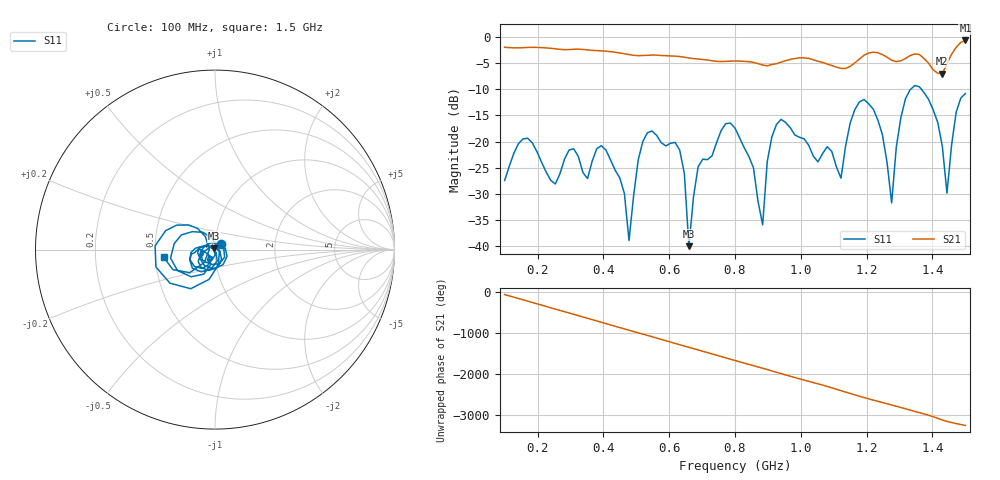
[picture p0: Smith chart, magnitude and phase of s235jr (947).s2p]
! NanoVNA-App
! Date: 2025-09-25 15:11:32
! Start: 100MHz Stop: 1,5GHz Points: 101
! S-Parameter data: F S11 S21 S12 S22
# Hz S RI R 50
!  Frequency  S11_Real  S11_Imag  S21_Real  S21_Imag  S12_Real  S12_Imag  S22_Real  S22_Imag
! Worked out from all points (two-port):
!   101 points, 100 MHz to 1.5 GHz, reference 50 ohm
!   highest |S21| = -0.67 dB at 1.5 GHz (marker M1); lowest = -7.0 dB at 1.43 GHz (marker M2)
!   |S21| within 3 dB of the highest: start of sweep to 618.4 MHz; 1.189 GHz to 1.256 GHz (67.56 MHz wide, 5.53 % of centre) (the widest 2 of 4)
!   lowest |S11| = -40.0 dB at 660 MHz (marker M3), VSWR 1.02, Z = 49.2 + j0.631 ohm
!   |S11| at or under -10 dB: start of sweep to 1.334 GHz; 1.366 GHz to end of sweep
!   S12 and S22 are empty: the file has one direction only
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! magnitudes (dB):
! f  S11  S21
! 100 MHz  -27.5  -2.0
! 170 MHz  -19.4  -2.0
! 338 MHz  -25.9  -2.4
! 408 MHz  -21.6  -2.7
! 478 MHz  -38.9  -3.4
! 520 MHz  -20.0  -3.5
! 576 MHz  -20.2  -3.5
! 632 MHz  -21.6  -3.7
! 660 MHz  -40.0  -4.0
! 688 MHz  -24.8  -4.2
! 800 MHz  -17.4  -4.6
! 884 MHz  -35.9  -5.4
! 926 MHz  -16.7  -5.1
! 1.038 GHz  -22.8  -4.4
! 1.122 GHz  -27.0  -6.0
! 1.192 GHz  -12.0  -3.5
! 1.248 GHz  -18.7  -3.4
! 1.276 GHz  -31.7  -4.5
! 1.332 GHz  -10.1  -3.6
! 1.43 GHz  -20.9  -7.0
! 1.444 GHz  -29.9  -5.1
! 1.5 GHz  -10.8  -0.7
